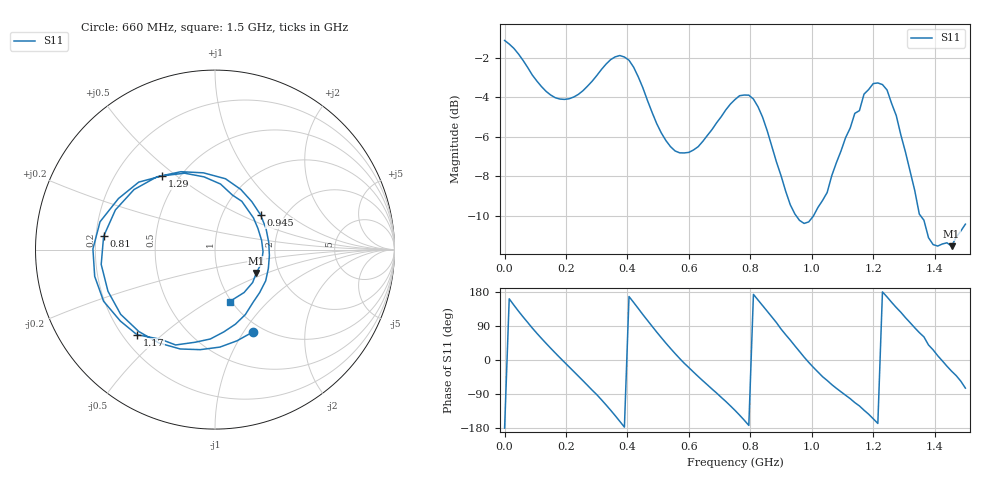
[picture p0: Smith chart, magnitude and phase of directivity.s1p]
! Created with skrf 1.8.0 (http://scikit-rf.org).
# Hz S RI R 50.0
!freq ReS11 ImS11
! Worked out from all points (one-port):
!   101 points, 50 kHz to 1.5 GHz, reference 50 ohm
!   lowest |S11| = -11.6 dB at 1.455 GHz (marker M1), VSWR 1.72, Z = 76.3 - j21.3 ohm
!   |S11| at or under -10 dB: 948.8 MHz to 1.006 GHz (57.21 MHz wide, 5.85 % of centre); 1.354 GHz to end of sweep
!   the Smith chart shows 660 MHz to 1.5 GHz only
!   S11 on the Smith chart (normalised r, x): 660 MHz: 0.89, -1.10; 810 MHz: 0.23, +0.06; 945 MHz: 1.51, +0.65; 1.17 GHz: 0.26, -0.42; 1.29 GHz: 0.40, +0.44; 1.5 GHz: 0.98, -0.62
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50000  -0.8803 -0.00138
4.50485e7  -0.5133 0.6313
7.50475e7  -0.121 0.7422
1.350455e8  0.4708 0.4536
1.950435e8  0.6202 -0.0661
2.40042e8  0.4745 -0.4329
3.0004e8  -0.0173 -0.7168
3.450385e8  -0.5297 -0.5817
3.750375e8  -0.766 -0.2509
4.050365e8  -0.7654 0.1704
4.50035e8  -0.3335 0.5785
5.10033e8  0.2632 0.4401
5.70031e8  0.4553 0.0306
6.60028e8  0.2102 -0.4594
7.050265e8  -0.0822 -0.5575
7.50025e8  -0.4244 -0.4566
8.10023e8  -0.6205 0.0741
8.70021e8  -0.19 0.434
9.450185e8  0.2539 0.1933
1.020016e9  0.2825 -0.1738
1.125012e9  -0.1097 -0.516
1.170011e9  -0.4347 -0.4742
1.230009e9  -0.6802 0.00362
1.290007e9  -0.2966 0.4103
1.320006e9  -0.0611 0.4052
1.380004e9  0.214 0.1772
1.455002e9  0.2303 -0.13
1.5e9  0.0818 -0.2894
